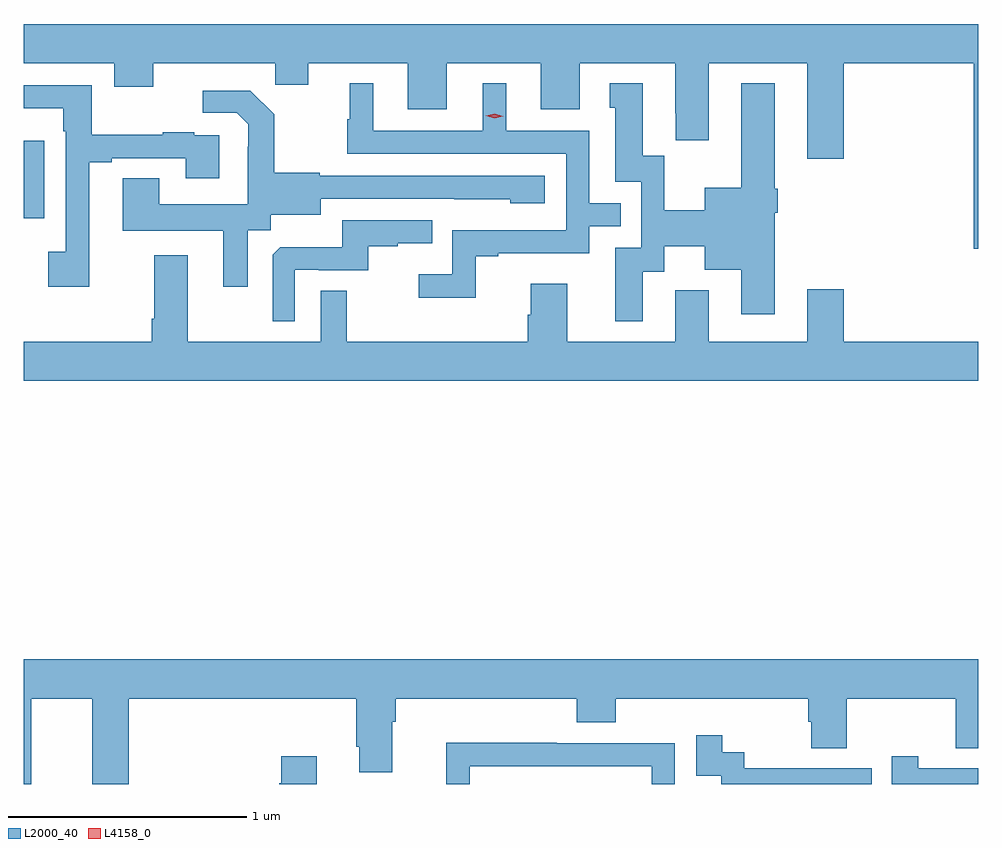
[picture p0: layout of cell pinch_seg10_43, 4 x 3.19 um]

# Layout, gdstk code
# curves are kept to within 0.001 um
import gdstk
lib = gdstk.Library(unit=1e-6, precision=1e-09)
def R(c, l, rs):  # rectangles x0, y0, x1, y1
    for r in rs: c.add(gdstk.rectangle(r[:2], r[2:], *l))
def P(c, l, *ps):  # polygons
    for p in ps: c.add(gdstk.Polygon(p, *l))
L2000_40 = (2000, 40)
L4158_0 = (4158, 0)

pinch_seg10_43 = lib.new_cell('pinch_seg10_43')
R(pinch_seg10_43, L2000_40, [(886.432,1299.666,886.518,1299.991)])
P(pinch_seg10_43, L2000_40, [(890.432,1300.48),(886.432,1300.48),(886.432,1300.316),(886.811,1300.316),(886.811,1300.217),(886.975,1300.217),(886.975,1300.316),(887.485,1300.316),(887.485,1300.226),(887.623,1300.226),(887.623,1300.316),(888.041,1300.316),(888.041,1300.122),(888.205,1300.122),(888.205,1300.316),(888.599,1300.316),(888.599,1300.122),(888.763,1300.122),(888.763,1300.316),(889.163,1300.316),(889.163,1300.105),(889.164,1300.105),(889.164,1299.993),(889.303,1299.993),(889.303,1300.316),(889.715,1300.316),(889.715,1299.915),(889.868,1299.915),(889.868,1300.316),(890.414,1300.316),(890.414,1299.537),(890.432,1299.537)],
  [(888.327,1299.507),(888.421,1299.507),(888.421,1299.519),(888.801,1299.519),(888.801,1299.633),(888.935,1299.633),(888.935,1299.729),(888.801,1299.729),(888.801,1300.032),(888.454,1300.032),(888.454,1300.231),(888.356,1300.231),(888.356,1300.032),(887.896,1300.032),(887.896,1300.231),(887.798,1300.231),(887.798,1300.08),(887.787,1300.08),(887.787,1299.936),(888.705,1299.936),(888.705,1299.615),(888.228,1299.615),(888.228,1299.43),(888.087,1299.43),(888.087,1299.332),(888.327,1299.332)],
  [(889.027,1299.442),(889.117,1299.442),(889.117,1299.548),(889.286,1299.548),(889.286,1299.449),(889.439,1299.449),(889.439,1299.264),(889.579,1299.264),(889.579,1299.689),(889.592,1299.689),(889.592,1299.789),(889.579,1299.789),(889.579,1300.231),(889.439,1300.231),(889.439,1299.793),(889.286,1299.793),(889.286,1299.7),(889.116,1299.7),(889.116,1299.927),(889.027,1299.927),(889.027,1300.231),(888.887,1300.231),(888.887,1300.128),(888.911,1300.128),(888.911,1299.819),(889.02,1299.819),(889.02,1299.543),(888.911,1299.543),(888.911,1299.234),(889.027,1299.234)],
  [(886.705,1299.9),(886.801,1299.9),(886.801,1299.918),(887.111,1299.918),(887.111,1299.834),(887.251,1299.834),(887.251,1300.014),(887.147,1300.014),(887.147,1300.027),(887.015,1300.027),(887.015,1300.016),(886.717,1300.016),(886.717,1300.224),(886.432,1300.224),(886.432,1300.127),(886.596,1300.127),(886.596,1300.031),(886.608,1300.031),(886.608,1299.526),(886.533,1299.526),(886.533,1299.378),(886.705,1299.378)],
  [(887.371,1299.616),(887.466,1299.616),(887.466,1299.68),(887.677,1299.68),(887.677,1299.747),(888.471,1299.746),(888.471,1299.728),(888.616,1299.728),(888.616,1299.843),(887.673,1299.843),(887.673,1299.856),(887.481,1299.856),(887.481,1300.101),(887.381,1300.201),(887.181,1300.201),(887.181,1300.107),(887.325,1300.107),(887.372,1300.06),(887.372,1299.965),(887.37,1299.965),(887.37,1299.724),(886.999,1299.724),(886.999,1299.833),(886.847,1299.833),(886.847,1299.614),(887.267,1299.614),(887.267,1299.378),(887.371,1299.378)],
  [(887.568,1299.45),(887.668,1299.45),(887.668,1299.447),(887.876,1299.447),(887.876,1299.549),(887.999,1299.549),(887.999,1299.56),(888.143,1299.56),(888.143,1299.657),(887.766,1299.657),(887.766,1299.545),(887.507,1299.545),(887.475,1299.513),(887.475,1299.233),(887.568,1299.233)],
  [(890.432,1299.148),(889.868,1299.148),(889.868,1299.367),(889.715,1299.367),(889.715,1299.148),(889.303,1299.148),(889.303,1299.364),(889.163,1299.364),(889.163,1299.148),(888.709,1299.148),(888.709,1299.391),(888.557,1299.391),(888.557,1299.261),(888.545,1299.261),(888.545,1299.148),(887.785,1299.148),(887.785,1299.362),(887.676,1299.362),(887.676,1299.148),(887.119,1299.148),(887.119,1299.511),(886.979,1299.511),(886.979,1299.244),(886.967,1299.244),(886.967,1299.148),(886.432,1299.148),(886.432,1298.984),(890.432,1298.984)],
  [(886.462,1297.652),(886.718,1297.652),(886.718,1297.294),(886.871,1297.294),(886.871,1297.652),(887.825,1297.652),(887.825,1297.45),(887.837,1297.45),(887.837,1297.343),(887.977,1297.343),(887.977,1297.556),(887.99,1297.556),(887.99,1297.652),(888.749,1297.652),(888.749,1297.553),(888.914,1297.553),(888.914,1297.652),(889.721,1297.652),(889.721,1297.554),(889.733,1297.554),(889.733,1297.444),(889.881,1297.444),(889.881,1297.652),(890.338,1297.652),(890.338,1297.444),(890.432,1297.444),(890.432,1297.816),(886.432,1297.816),(886.432,1297.294),(886.462,1297.294)],
  [(889.986,1297.359),(889.452,1297.359),(889.452,1297.428),(889.36,1297.428),(889.36,1297.498),(889.251,1297.498),(889.251,1297.329),(889.356,1297.329),(889.356,1297.294),(889.986,1297.294)],
  [(888.301,1297.368),(889.065,1297.368),(889.065,1297.294),(889.161,1297.294),(889.161,1297.464),(888.665,1297.464),(888.665,1297.466),(888.202,1297.466),(888.202,1297.294),(888.301,1297.294)],
  [(890.432,1297.359),(890.182,1297.359),(890.182,1297.411),(890.071,1297.411),(890.071,1297.294),(890.432,1297.294)],
  [(887.659,1297.411),(887.511,1297.411),(887.511,1297.298),(887.503,1297.298),(887.503,1297.294),(887.659,1297.294)])
P(pinch_seg10_43, L4158_0, [(888.405,1300.084),(888.369,1300.095),(888.369,1300.095),(888.369,1300.096),(888.405,1300.104),(888.44,1300.093),(888.441,1300.093),(888.44,1300.093)])

lib.write_gds('pinch_seg10_43.gds')
